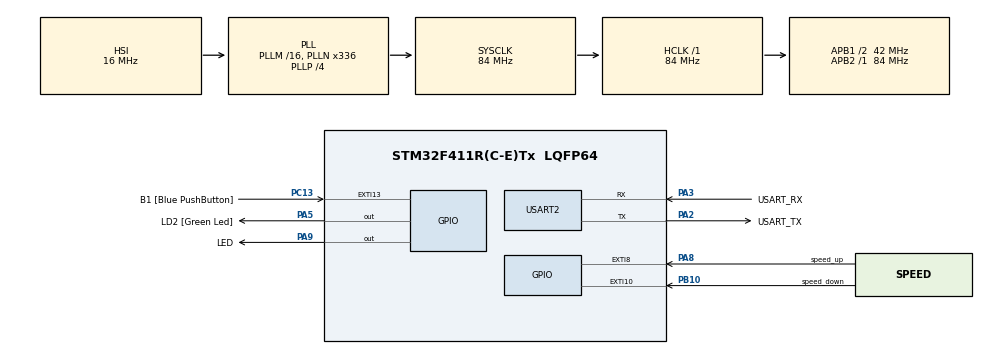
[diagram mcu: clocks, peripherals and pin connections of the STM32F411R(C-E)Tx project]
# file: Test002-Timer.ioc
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Mcu.Family=STM32F4
Mcu.Name=STM32F411R(C-E)Tx
Mcu.Package=LQFP64
NVIC.EXTI15_10_IRQn=true\:0\:0\:false\:false\:true\:true\:true\:true
NVIC.EXTI9_5_IRQn=true\:0\:0\:false\:false\:true\:true\:true\:true
NVIC.PriorityGroup=NVIC_PRIORITYGROUP_0
NVIC.TIM2_IRQn=true\:0\:0\:false\:false\:true\:true\:true\:true
NVIC.TIM3_IRQn=true\:0\:0\:false\:false\:true\:true\:true\:true
PA13.GPIO_Label=TMS
PA13.Mode=Serial_Wire
PA13.Signal=SYS_JTMS-SWDIO
PA14.GPIO_Label=TCK
PA14.Mode=Serial_Wire
PA14.Signal=SYS_JTCK-SWCLK
PA2.GPIO_Label=USART_TX
PA2.Mode=Asynchronous
PA2.Signal=USART2_TX
PA3.GPIO_Label=USART_RX
PA3.Mode=Asynchronous
PA3.Signal=USART2_RX
PA5.GPIO_Label=LD2 [Green Led]
PA5.Signal=GPIO_Output
PA8.GPIO_Label=speed_up
PA8.GPIO_ModeDefaultEXTI=GPIO_MODE_IT_FALLING
PA8.Signal=GPXTI8
PA9.GPIO_Label=LED
PA9.PinState=GPIO_PIN_SET
PA9.Signal=GPIO_Output
PB10.GPIO_Label=speed_down
PB10.GPIO_ModeDefaultEXTI=GPIO_MODE_IT_FALLING
PB10.Signal=GPXTI10
PB3.GPIO_Label=SWO
PB3.Signal=SYS_JTDO-SWO
PC13-ANTI_TAMP.GPIO_Label=B1 [Blue PushButton]
PC13-ANTI_TAMP.GPIO_ModeDefaultEXTI=GPIO_MODE_IT_FALLING
PC13-ANTI_TAMP.Signal=GPXTI13
PC14-OSC32_IN.Mode=LSE-External-Oscillator
PC14-OSC32_IN.Signal=RCC_OSC32_IN
PC15-OSC32_OUT.Mode=LSE-External-Oscillator
PC15-OSC32_OUT.Signal=RCC_OSC32_OUT
PH0\ -\ OSC_IN.Mode=HSE-External-Clock-Source
PH0\ -\ OSC_IN.Signal=RCC_OSC_IN
PH1\ -\ OSC_OUT.Mode=HSE-External-Clock-Source
PH1\ -\ OSC_OUT.Signal=RCC_OSC_OUT
ProjectManager.HeapSize=0x200
ProjectManager.StackSize=0x400
ProjectManager.TargetToolchain=STM32CubeIDE
RCC.48MHZClocksFreq_Value=84000000
RCC.AHBFreq_Value=84000000
RCC.APB1CLKDivider=RCC_HCLK_DIV2
RCC.APB1Freq_Value=42000000
RCC.APB1TimFreq_Value=84000000
RCC.APB2Freq_Value=84000000
RCC.APB2TimFreq_Value=84000000
RCC.CortexFreq_Value=84000000
RCC.FLatency-AdvancedSettings=FLASH_LATENCY_2
RCC.HCLKFreq_Value=84000000
RCC.HSE_VALUE=8000000
RCC.HSI_VALUE=16000000
RCC.PLLN=336
RCC.PLLP=RCC_PLLP_DIV4
RCC.SYSCLKFreq_VALUE=84000000
RCC.SYSCLKSource=RCC_SYSCLKSOURCE_PLLCLK
RCC.VCOOutputFreq_Value=336000000
TIM2.Period=10000-1
TIM2.Prescaler=8400-1
TIM3.Period=10000-1
TIM3.Prescaler=8400-1
USART2.VirtualMode=VM_ASYNC
VP_TIM2_VS_ClockSourceINT.Mode=Internal
VP_TIM3_VS_ClockSourceINT.Mode=Internal
board=NUCLEO-F411RE

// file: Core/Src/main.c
/* USER CODE BEGIN Header */
/**
  ******************************************************************************
  * @file           : main.c
  * @brief          : Main program body
  ******************************************************************************
  * @attention
  *
  * Copyright (c) 2024 STMicroelectronics.
  * All rights reserved.
  *
  * This software is licensed under terms that can be found in the LICENSE file
  * in the root directory of this software component.
  * If no LICENSE file comes with this software, it is provided AS-IS.
  *
  ******************************************************************************
  */
/* USER CODE END Header */
#include "main.h"

TIM_HandleTypeDef htim2;
TIM_HandleTypeDef htim3;

UART_HandleTypeDef huart2;

void SystemClock_Config(void);
static void MX_GPIO_Init(void);
static void MX_USART2_UART_Init(void);
static void MX_TIM3_Init(void);
static void MX_TIM2_Init(void);

/* USER CODE BEGIN 0 */

int delays = 10;

void HAL_TIM_PeriodElapsedCallback(TIM_HandleTypeDef *htim)
{
  if(htim == &htim3)
    {
      HAL_GPIO_TogglePin (LD2_GPIO_Port, LD2_Pin);

    }
  else if (htim == &htim2)
    {
      HAL_GPIO_TogglePin (LED_GPIO_Port, LED_Pin);
    }
}

void HAL_GPIO_EXTI_Callback(uint16_t GPIO_Pin)
{
  switch(GPIO_Pin)
  {
    case speed_down_Pin:
      delays = (delays>15)?  16 : delays + 1;
      break;

    case speed_up_Pin:
         delays = (delays<5)?  5 : delays - 1;
         break;
    default:;
  }
}

/* USER CODE END 0 */

int main(void)
{

  /* MCU Configuration--------------------------------------------------------*/

  /* Reset of all peripherals, Initializes the Flash interface and the Systick. */
  HAL_Init();

  /* Configure the system clock */
  SystemClock_Config();

  /* Initialize all configured peripherals */
  MX_GPIO_Init();
  MX_USART2_UART_Init();
  MX_TIM3_Init();
  MX_TIM2_Init();
  /* USER CODE BEGIN 2 */

  HAL_TIM_Base_Start_IT(&htim3);
  HAL_TIM_Base_Start_IT(&htim2);

  /* USER CODE END 2 */

  /* Infinite loop */
  while (1)
  {

    /* USER CODE BEGIN 3 */

      htim3.Instance->ARR = delays * 450;
      htim2.Instance->ARR = 4500;

  }
  /* USER CODE END 3 */
}

void SystemClock_Config(void)
{
  RCC_OscInitTypeDef RCC_OscInitStruct = {0};
  RCC_ClkInitTypeDef RCC_ClkInitStruct = {0};

  /** Configure the main internal regulator output voltage
  */
  __HAL_RCC_PWR_CLK_ENABLE();
  __HAL_PWR_VOLTAGESCALING_CONFIG(PWR_REGULATOR_VOLTAGE_SCALE1);

  /** Initializes the RCC Oscillators according to the specified parameters
  * in the RCC_OscInitTypeDef structure.
  */
  RCC_OscInitStruct.OscillatorType = RCC_OSCILLATORTYPE_HSI;
  RCC_OscInitStruct.HSIState = RCC_HSI_ON;
  RCC_OscInitStruct.HSICalibrationValue = RCC_HSICALIBRATION_DEFAULT;
  RCC_OscInitStruct.PLL.PLLState = RCC_PLL_ON;
  RCC_OscInitStruct.PLL.PLLSource = RCC_PLLSOURCE_HSI;
  RCC_OscInitStruct.PLL.PLLM = 16;
  RCC_OscInitStruct.PLL.PLLN = 336;
  RCC_OscInitStruct.PLL.PLLP = RCC_PLLP_DIV4;
  RCC_OscInitStruct.PLL.PLLQ = 4;
  if (HAL_RCC_OscConfig(&RCC_OscInitStruct) != HAL_OK)
  {
    Error_Handler();
  }

  /** Initializes the CPU, AHB and APB buses clocks
  */
  RCC_ClkInitStruct.ClockType = RCC_CLOCKTYPE_HCLK|RCC_CLOCKTYPE_SYSCLK
                              |RCC_CLOCKTYPE_PCLK1|RCC_CLOCKTYPE_PCLK2;
  RCC_ClkInitStruct.SYSCLKSource = RCC_SYSCLKSOURCE_PLLCLK;
  RCC_ClkInitStruct.AHBCLKDivider = RCC_SYSCLK_DIV1;
  RCC_ClkInitStruct.APB1CLKDivider = RCC_HCLK_DIV2;
  RCC_ClkInitStruct.APB2CLKDivider = RCC_HCLK_DIV1;

  if (HAL_RCC_ClockConfig(&RCC_ClkInitStruct, FLASH_LATENCY_2) != HAL_OK)
  {
    Error_Handler();
  }
}

static void MX_TIM2_Init(void)
{

  TIM_ClockConfigTypeDef sClockSourceConfig = {0};
  TIM_MasterConfigTypeDef sMasterConfig = {0};

  htim2.Instance = TIM2;
  htim2.Init.Prescaler = 8400-1;
  htim2.Init.CounterMode = TIM_COUNTERMODE_UP;
  htim2.Init.Period = 10000-1;
  htim2.Init.ClockDivision = TIM_CLOCKDIVISION_DIV1;
  htim2.Init.AutoReloadPreload = TIM_AUTORELOAD_PRELOAD_DISABLE;
  if (HAL_TIM_Base_Init(&htim2) != HAL_OK)
  {
    Error_Handler();
  }
  sClockSourceConfig.ClockSource = TIM_CLOCKSOURCE_INTERNAL;
  if (HAL_TIM_ConfigClockSource(&htim2, &sClockSourceConfig) != HAL_OK)
  {
    Error_Handler();
  }
  sMasterConfig.MasterOutputTrigger = TIM_TRGO_RESET;
  sMasterConfig.MasterSlaveMode = TIM_MASTERSLAVEMODE_DISABLE;
  if (HAL_TIMEx_MasterConfigSynchronization(&htim2, &sMasterConfig) != HAL_OK)
  {
    Error_Handler();
  }

}

static void MX_TIM3_Init(void)
{

  TIM_ClockConfigTypeDef sClockSourceConfig = {0};
  TIM_MasterConfigTypeDef sMasterConfig = {0};

  htim3.Instance = TIM3;
  htim3.Init.Prescaler = 8400-1;
  htim3.Init.CounterMode = TIM_COUNTERMODE_UP;
  htim3.Init.Period = 10000-1;
  htim3.Init.ClockDivision = TIM_CLOCKDIVISION_DIV1;
  htim3.Init.AutoReloadPreload = TIM_AUTORELOAD_PRELOAD_DISABLE;
  if (HAL_TIM_Base_Init(&htim3) != HAL_OK)
  {
    Error_Handler();
  }
  sClockSourceConfig.ClockSource = TIM_CLOCKSOURCE_INTERNAL;
  if (HAL_TIM_ConfigClockSource(&htim3, &sClockSourceConfig) != HAL_OK)
  {
    Error_Handler();
  }
  sMasterConfig.MasterOutputTrigger = TIM_TRGO_RESET;
  sMasterConfig.MasterSlaveMode = TIM_MASTERSLAVEMODE_DISABLE;
  if (HAL_TIMEx_MasterConfigSynchronization(&htim3, &sMasterConfig) != HAL_OK)
  {
    Error_Handler();
  }

}

static void MX_USART2_UART_Init(void)
{

  huart2.Instance = USART2;
  huart2.Init.BaudRate = 115200;
  huart2.Init.WordLength = UART_WORDLENGTH_8B;
  huart2.Init.StopBits = UART_STOPBITS_1;
  huart2.Init.Parity = UART_PARITY_NONE;
  huart2.Init.Mode = UART_MODE_TX_RX;
  huart2.Init.HwFlowCtl = UART_HWCONTROL_NONE;
  huart2.Init.OverSampling = UART_OVERSAMPLING_16;
  if (HAL_UART_Init(&huart2) != HAL_OK)
  {
    Error_Handler();
  }

}

static void MX_GPIO_Init(void)
{
  GPIO_InitTypeDef GPIO_InitStruct = {0};

  /* GPIO Ports Clock Enable */
  __HAL_RCC_GPIOC_CLK_ENABLE();
  __HAL_RCC_GPIOH_CLK_ENABLE();
  __HAL_RCC_GPIOA_CLK_ENABLE();
  __HAL_RCC_GPIOB_CLK_ENABLE();

  /*Configure GPIO pin Output Level */
  HAL_GPIO_WritePin(LD2_GPIO_Port, LD2_Pin, GPIO_PIN_RESET);

  /*Configure GPIO pin Output Level */
  HAL_GPIO_WritePin(LED_GPIO_Port, LED_Pin, GPIO_PIN_SET);

  /*Configure GPIO pin : B1_Pin */
  GPIO_InitStruct.Pin = B1_Pin;
  GPIO_InitStruct.Mode = GPIO_MODE_IT_FALLING;
  GPIO_InitStruct.Pull = GPIO_NOPULL;
  HAL_GPIO_Init(B1_GPIO_Port, &GPIO_InitStruct);

  /*Configure GPIO pins : LD2_Pin LED_Pin */
  GPIO_InitStruct.Pin = LD2_Pin|LED_Pin;
  GPIO_InitStruct.Mode = GPIO_MODE_OUTPUT_PP;
  GPIO_InitStruct.Pull = GPIO_NOPULL;
  GPIO_InitStruct.Speed = GPIO_SPEED_FREQ_LOW;
  HAL_GPIO_Init(GPIOA, &GPIO_InitStruct);

  /*Configure GPIO pin : speed_down_Pin */
  GPIO_InitStruct.Pin = speed_down_Pin;
  GPIO_InitStruct.Mode = GPIO_MODE_IT_FALLING;
  GPIO_InitStruct.Pull = GPIO_NOPULL;
  HAL_GPIO_Init(speed_down_GPIO_Port, &GPIO_InitStruct);

  /*Configure GPIO pin : speed_up_Pin */
  GPIO_InitStruct.Pin = speed_up_Pin;
  GPIO_InitStruct.Mode = GPIO_MODE_IT_FALLING;
  GPIO_InitStruct.Pull = GPIO_NOPULL;
  HAL_GPIO_Init(speed_up_GPIO_Port, &GPIO_InitStruct);

  /* EXTI interrupt init*/
  HAL_NVIC_SetPriority(EXTI9_5_IRQn, 0, 0);
  HAL_NVIC_EnableIRQ(EXTI9_5_IRQn);

  HAL_NVIC_SetPriority(EXTI15_10_IRQn, 0, 0);
  HAL_NVIC_EnableIRQ(EXTI15_10_IRQn);

}

void Error_Handler(void)
{
  __disable_irq();
  while (1)
  {
  }
}
